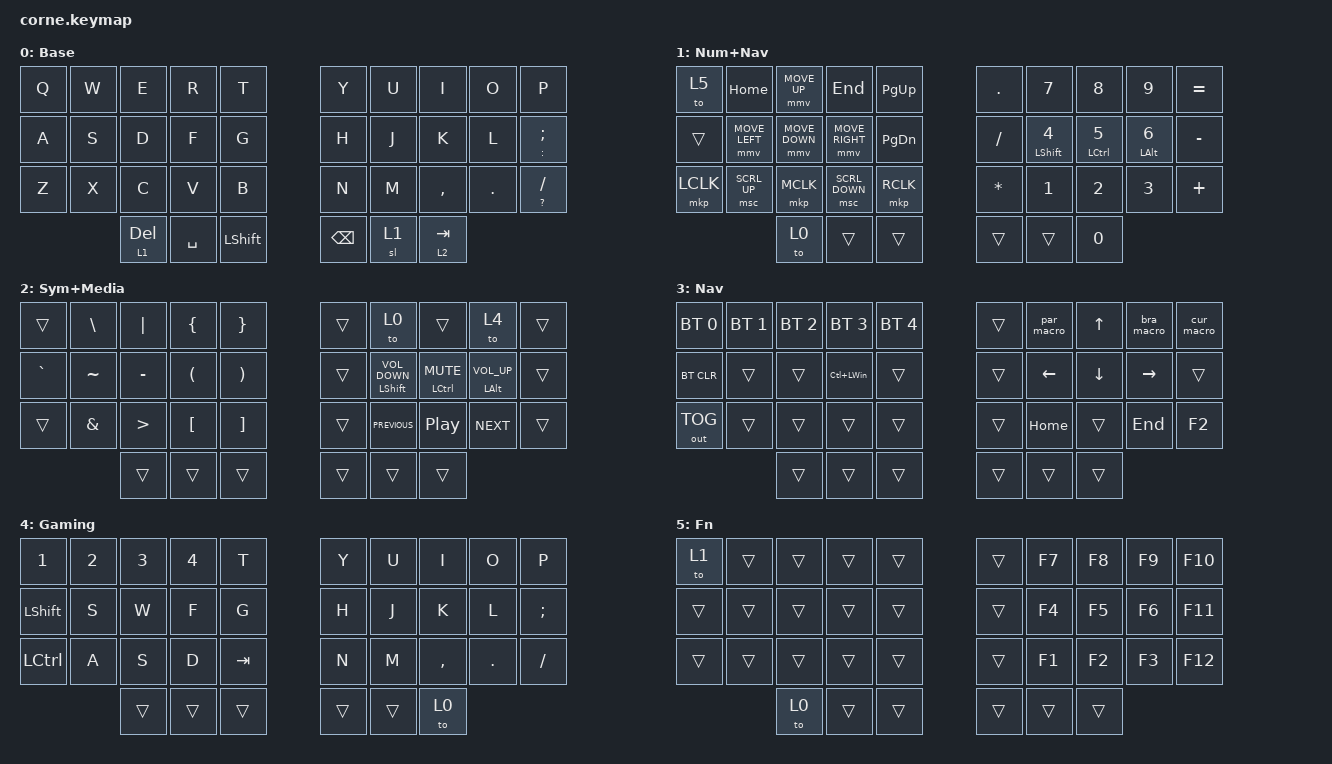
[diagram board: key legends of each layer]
/*
 * Copyright (c) 2020 The ZMK Contributors
 *
 * SPDX-License-Identifier: MIT
 */

#include <behaviors.dtsi>
#include <dt-bindings/zmk/bt.h>
#include <dt-bindings/zmk/keys.h>

/ {
    chosen { zmk,matrix_transform = &five_column_transform; };

    behaviors {
        kht: kht {
            compatible = "zmk,behavior-hold-tap";
            label = "Key hold tap";
            bindings = <&kp>, <&kp>;

            #binding-cells = <2>;
            tapping-term-ms = <200>;
            quick-tap-ms = <200>;
            require-prior-idle-ms = <125>;
            flavor = "tap-preferred";
        };
    };

    combos {
        compatible = "zmk,combos";

        combo_esc {
            bindings = <&kp ESC>;
            key-positions = <11 12>;
        };

        combo_tab {
            bindings = <&kp TAB>;
            key-positions = <11 13 12>;
        };

        combo_win {
            bindings = <&kp LEFT_WIN>;
            key-positions = <16 17>;
        };
    };

    keymap {
        compatible = "zmk,keymap";

        base {
            // -----------------------------------------------------------------------------------------
            // |  Q  |  W  |  E  |  R  |  T  |     |  Y  |  U   |  I   |  O   | P |
            // |  A  |  S  |  D  |  F  |  G  |     |  H  |  J   |  K   |  L   | ' | 
            // |  Z  |  X  |  C  |  V  |  B  |     |  N  |  M   | CTRL | META | . |
            //             | GUI | LWR | SPC |     | ENT | RSE  | BSPC |

            display-name = "Base";
            bindings = <
  &kp Q  &kp W  &kp E      &kp R      &kp T             &kp Y          &kp U  &kp I      &kp O       &kp P
  &kp A  &kp S  &kp D      &kp F      &kp G             &kp H          &kp J  &kp K      &kp L       &kht COLON SEMI
  &kp Z  &kp X  &kp C      &kp V      &kp B             &kp N          &kp M  &kp COMMA  &kp PERIOD  &kht QUESTION SLASH
                &lt 1 DEL  &kp SPACE  &kp LEFT_SHIFT    &kp BACKSPACE  &sl 1  &lt 2 TAB
            >;
        };

        num_nav {
            // -----------------------------------------------------------------------------------------
            // |  1  |  2  |  3  |  4  |  5  |   |  6  |  7  |  8  |  9  |  0  |
            // | BT1 | BT2 | BT3 | BT4 | BT5 |   | LFT | DWN |  UP | RGT |     |
            // |     |     |     |     |     |   |     |     |     |     |     |
            //               | GUI |     | SPC |   | ENT |     | ALT |

            display-name = "Num+Nav";
            bindings = <
  &to 5      &kp HOME        &mmv MOVE_UP    &kp END          &kp PG_UP    &kp PERIOD    &kp N7                    &kp N8         &kp N9                  &kp EQUAL
  &trans     &mmv MOVE_LEFT  &mmv MOVE_DOWN  &mmv MOVE_RIGHT  &kp PG_DN    &kp SLASH     &kht LEFT_SHIFT NUMBER_4  &kht LCTRL N5  &kht LEFT_ALT NUMBER_6  &kp MINUS
  &mkp LCLK  &msc SCRL_UP    &mkp MCLK       &msc SCRL_DOWN   &mkp RCLK    &kp ASTERISK  &kp NUMBER_1              &kp NUMBER_2   &kp NUMBER_3            &kp PLUS
                             &to 0           &trans           &trans       &trans        &trans                    &kp N0
            >;
        };

        sym_media {
            // -----------------------------------------------------------------------------------------
            // |  !  |  @  |  #  |  $  |  %  |   |  ^  |  &  |  *  |  (  |  )  |
            // |     |     |     |     |     |   |  -  |  =  |  [  |  ]  |  \  |
            // |     |     |     |     |     |   |  _  |  +  |  {  |  }  | "|" |
            //            | GUI |     | SPC |   | ENT |     | ALT |

            display-name = "Sym+Media";
            bindings = <
  &trans     &kp BACKSLASH  &kp PIPE          &kp LEFT_BRACE    &kp RBRC             &trans  &to 0                          &trans             &to 4                      &trans
  &kp GRAVE  &kp TILDE      &kp MINUS         &kp LPAR          &kp RPAR             &trans  &kht LEFT_SHIFT C_VOLUME_DOWN  &kht LCTRL C_MUTE  &kht LEFT_ALT C_VOLUME_UP  &trans
  &trans     &kp AMPERSAND  &kp GREATER_THAN  &kp LEFT_BRACKET  &kp RIGHT_BRACKET    &trans  &kp C_PREVIOUS                 &kp C_PLAY_PAUSE   &kp C_NEXT                 &trans
                            &trans            &trans            &trans               &trans  &trans                         &trans
            >;
        };

        nav_layer {
            display-name = "Nav";
            bindings = <
  &bt BT_SEL 0  &bt BT_SEL 1  &bt BT_SEL 2  &bt BT_SEL 3      &bt BT_SEL 4    &trans  &par_macro  &kp UP_ARROW  &bra_macro  &cur_macro
  &bt BT_CLR    &trans        &trans        &kp LC(LEFT_WIN)  &trans          &trans  &kp LEFT    &kp DOWN      &kp RIGHT   &trans
  &out OUT_TOG  &trans        &trans        &trans            &trans          &trans  &kp HOME    &trans        &kp END     &kp F2
                              &trans        &trans            &trans          &trans  &trans      &trans
            >;
        };

        gaming {
            display-name = "Gaming";
            bindings = <
  &kp NUMBER_1      &kp NUMBER_2  &kp NUMBER_3  &kp NUMBER_4  &kp T      &kp Y   &kp U   &kp I      &kp O    &kp P
  &kp LEFT_SHIFT    &kp S         &kp W         &kp F         &kp G      &kp H   &kp J   &kp K      &kp L    &kp SEMI
  &kp LEFT_CONTROL  &kp A         &kp S         &kp D         &kp TAB    &kp N   &kp M   &kp COMMA  &kp DOT  &kp FSLH
                                  &trans        &trans        &trans     &trans  &trans  &to 0
            >;
        };

        fn {
            display-name = "Fn";
            bindings = <
  &to 1   &trans  &trans  &trans  &trans    &trans  &kp F7  &kp F8  &kp F9  &kp F10
  &trans  &trans  &trans  &trans  &trans    &trans  &kp F4  &kp F5  &kp F6  &kp F11
  &trans  &trans  &trans  &trans  &trans    &trans  &kp F1  &kp F2  &kp F3  &kp F12
                  &to 0   &trans  &trans    &trans  &trans  &trans
            >;
        };
    };
};
